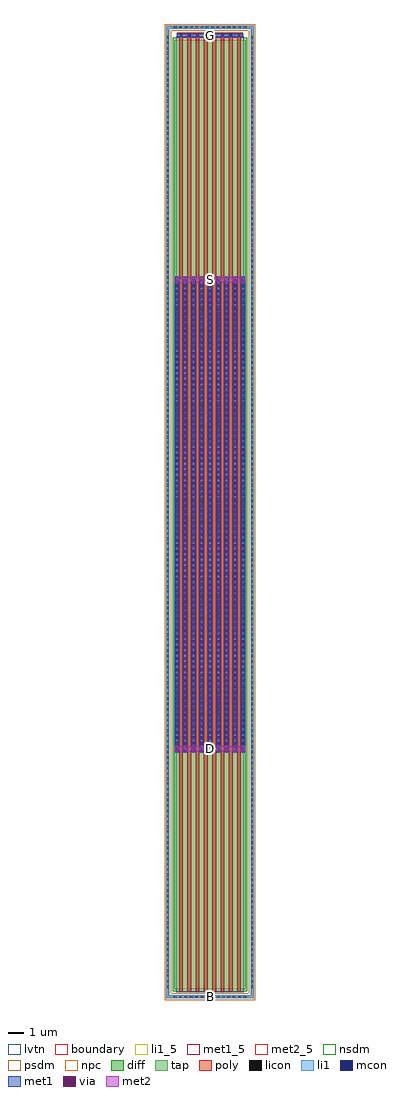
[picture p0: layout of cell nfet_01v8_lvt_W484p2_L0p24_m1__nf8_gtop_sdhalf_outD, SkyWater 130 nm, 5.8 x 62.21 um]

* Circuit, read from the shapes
.subckt nfet_01v8_lvt_W484p2_L0p24_m1__nf8_gtop_sdhalf_outD B D G S
XM1 S G D B sky130_fd_pr__nfet_01v8_lvt w=60.53 l=0.24 m=8
.ends

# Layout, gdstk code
import gdstk
lib = gdstk.Library(unit=1e-6, precision=1e-09)
def R(c, l, rs):  # rectangles x0, y0, x1, y1
    for r in rs: c.add(gdstk.rectangle(r[:2], r[2:], *l))
def A(c, l, x, y, w, h, nx, ny, dx, dy):  # array of equal rectangles
    R(c, l, [(x+i*dx, y+j*dy, x+i*dx+w, y+j*dy+h) for i in range(nx) for j in range(ny)])
diff = (65, 20)
tap = (65, 44)
poly = (66, 20)
licon = (66, 44)
li1_5 = (67, 5)
li1 = (67, 20)
mcon = (67, 44)
met1_5 = (68, 5)
met1 = (68, 20)
via = (68, 44)
met2_5 = (69, 5)
met2 = (69, 20)
nsdm = (93, 44)
psdm = (94, 20)
npc = (95, 20)
lvtn = (125, 44)
boundary = (235, 4)

sky130_fd_pr__nfet_01v8_ = lib.new_cell('sky130_fd_pr__nfet_01v8_lvt_27327W')
R(sky130_fd_pr__nfet_01v8_, diff, [(-2.265,-30.42,2.265,30.11)])
R(sky130_fd_pr__nfet_01v8_, tap, [(-2.775,-30.98,2.775,-30.81), (-2.775,-30.81,-2.605,30.81), (2.605,-30.81,2.775,30.81), (-2.775,30.81,2.775,30.98)])
A(sky130_fd_pr__nfet_01v8_, poly, -1.975, -30.55, 0.24, 60.77, 8, 1, 0.53, 0)
R(sky130_fd_pr__nfet_01v8_, poly, [(-2.12,30.22,2.12,30.55)])
A(sky130_fd_pr__nfet_01v8_, licon, -2.295, -30.98, 0.17, 0.17, 14, 2, 0.34, 61.79)
A(sky130_fd_pr__nfet_01v8_, licon, -2.775, -30.345, 0.17, 0.17, 1, 179, 0, 0.34)
A(sky130_fd_pr__nfet_01v8_, licon, 2.605, -30.345, 0.17, 0.17, 1, 179, 0, 0.34)
A(sky130_fd_pr__nfet_01v8_, licon, -2.205, -15.2, 0.17, 0.17, 9, 89, 0.53, 0.34)
A(sky130_fd_pr__nfet_01v8_, licon, -1.94, 30.3, 0.17, 0.17, 8, 1, 0.53, 0)
A(sky130_fd_pr__nfet_01v8_, li1, -2.205, -15.335, 0.17, 30.36, 9, 1, 0.53, 0)
R(sky130_fd_pr__nfet_01v8_, li1, [(-2.775,-30.98,2.775,-30.81), (-2.775,-30.81,-2.605,30.81), (2.605,-30.81,2.775,30.81), (-2.12,30.3,2.12,30.47), (-2.775,30.81,2.775,30.98)])
A(sky130_fd_pr__nfet_01v8_, mcon, -2.205, -15.18, 0.17, 0.17, 9, 84, 0.53, 0.36)
A(sky130_fd_pr__nfet_01v8_, mcon, -1.94, 30.3, 0.17, 0.17, 8, 1, 0.53, 0)
A(sky130_fd_pr__nfet_01v8_, met1, -2.235, -15.315, 0.23, 30.32, 9, 1, 0.53, 0)
A(sky130_fd_pr__nfet_01v8_, met1, -2, 30.27, 0.29, 0.03, 8, 2, 0.53, 0.2)
R(sky130_fd_pr__nfet_01v8_, met1, [(-2.12,30.3,2.12,30.47)])
R(sky130_fd_pr__nfet_01v8_, nsdm, [(-2.39,-30.545,2.39,30.235)])
R(sky130_fd_pr__nfet_01v8_, psdm, [(-2.9,-31.105,2.9,-30.685), (-2.9,-30.685,-2.48,30.685), (2.48,-30.685,2.9,30.685), (-2.9,30.685,2.9,31.105)])
R(sky130_fd_pr__nfet_01v8_, npc, [(-2.04,30.2,2.04,30.57)])
R(sky130_fd_pr__nfet_01v8_, lvtn, [(-2.155,-30.6,2.155,30.29)])
R(sky130_fd_pr__nfet_01v8_, boundary, [(-2.69,-30.895,2.69,30.895)])
sky130_fd_pr__nfet_01v8_.add(gdstk.Label('B', (0,-30.895), layer=67, texttype=5))
sky130_fd_pr__nfet_01v8_.add(gdstk.Label('D0', (-2.12,-0.155), layer=67, texttype=5))
sky130_fd_pr__nfet_01v8_.add(gdstk.Label('G', (1.855,30.385), layer=67, texttype=5))
sky130_fd_pr__nfet_01v8_.add(gdstk.Label('G', (1.325,30.385), layer=67, texttype=5))
sky130_fd_pr__nfet_01v8_.add(gdstk.Label('G', (0.795,30.385), layer=67, texttype=5))
sky130_fd_pr__nfet_01v8_.add(gdstk.Label('G', (0.265,30.385), layer=67, texttype=5))
sky130_fd_pr__nfet_01v8_.add(gdstk.Label('G', (-0.265,30.385), layer=67, texttype=5))
sky130_fd_pr__nfet_01v8_.add(gdstk.Label('G', (-0.795,30.385), layer=67, texttype=5))
sky130_fd_pr__nfet_01v8_.add(gdstk.Label('G', (-1.325,30.385), layer=67, texttype=5))
sky130_fd_pr__nfet_01v8_.add(gdstk.Label('G', (-1.855,30.385), layer=67, texttype=5))
sky130_fd_pr__nfet_01v8_.add(gdstk.Label('S1', (-1.59,-0.155), layer=67, texttype=5))
sky130_fd_pr__nfet_01v8_.add(gdstk.Label('D2', (-1.06,-0.155), layer=67, texttype=5))
sky130_fd_pr__nfet_01v8_.add(gdstk.Label('S3', (-0.53,-0.155), layer=67, texttype=5))
sky130_fd_pr__nfet_01v8_.add(gdstk.Label('D4', (0,-0.155), layer=67, texttype=5))
sky130_fd_pr__nfet_01v8_.add(gdstk.Label('S5', (0.53,-0.155), layer=67, texttype=5))
sky130_fd_pr__nfet_01v8_.add(gdstk.Label('D6', (1.06,-0.155), layer=67, texttype=5))
sky130_fd_pr__nfet_01v8_.add(gdstk.Label('S7', (1.59,-0.155), layer=67, texttype=5))

nfet_01v8_lvt_w484p2_l0p = lib.new_cell('nfet_01v8_lvt_W484p2_L0p24_m1__nf8_gtop_sdhalf_outD')
R(nfet_01v8_lvt_w484p2_l0p, li1_5, [(2.605,-0.085,2.775,0.085)])
R(nfet_01v8_lvt_w484p2_l0p, li1, [(2.605,-0.085,2.775,0.085)])
R(nfet_01v8_lvt_w484p2_l0p, met1_5, [(0.57,61.165,4.81,61.395)])
A(nfet_01v8_lvt_w484p2_l0p, met1, 0.44, 15.63, 0.26, 0.32, 5, 1, 1.06, 0)
A(nfet_01v8_lvt_w484p2_l0p, met1, 0.97, 45.53, 0.26, 0.32, 4, 1, 1.06, 0)
R(nfet_01v8_lvt_w484p2_l0p, met1, [(0.57,61.165,4.81,61.395)])
A(nfet_01v8_lvt_w484p2_l0p, via, 0.495, 15.715, 0.15, 0.15, 5, 1, 1.06, 0)
A(nfet_01v8_lvt_w484p2_l0p, via, 1.025, 45.615, 0.15, 0.15, 4, 1, 1.06, 0)
R(nfet_01v8_lvt_w484p2_l0p, met2_5, [(0.435,15.63,4.945,15.95), (0.435,45.53,4.945,45.85)])
R(nfet_01v8_lvt_w484p2_l0p, met2, [(0.435,15.63,4.945,15.95), (0.435,45.53,4.945,45.85)])
nfet_01v8_lvt_w484p2_l0p.add(gdstk.Reference(sky130_fd_pr__nfet_01v8_, (2.69,30.895)))
nfet_01v8_lvt_w484p2_l0p.add(gdstk.Label('S', (2.69,45.69), layer=69, texttype=5))
nfet_01v8_lvt_w484p2_l0p.add(gdstk.Label('D', (2.69,15.79), layer=69, texttype=5))
nfet_01v8_lvt_w484p2_l0p.add(gdstk.Label('G', (2.69,61.28), layer=68, texttype=5))
nfet_01v8_lvt_w484p2_l0p.add(gdstk.Label('B', (2.69,0), layer=67, texttype=5))

lib.write_gds('nfet_01v8_lvt_W484p2_L0p24_m1__nf8_gtop_sdhalf_outD.gds')
